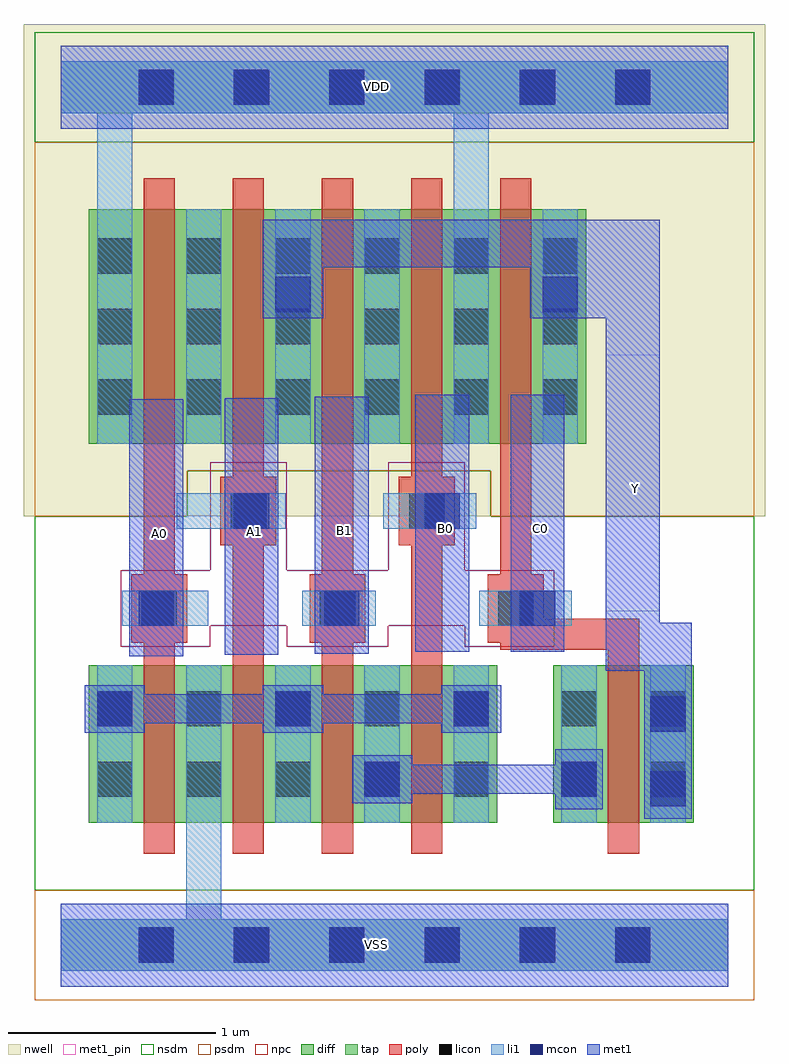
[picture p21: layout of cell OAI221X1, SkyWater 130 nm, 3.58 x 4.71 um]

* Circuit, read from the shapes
.subckt OAI221X1 A0 A1 B0 B1 C0 VDD VSS Y
XM1 VSS A0 n1 VSS sky130_fd_pr__nfet_01v8 w=0.76 l=0.15
XM2 n1 A1 VSS VSS sky130_fd_pr__nfet_01v8 w=0.76 l=0.15
XM3 n2 B1 n1 VSS sky130_fd_pr__nfet_01v8 w=0.76 l=0.15
XM4 n1 B0 n2 VSS sky130_fd_pr__nfet_01v8 w=0.76 l=0.15
XM5 Y C0 n2 VSS sky130_fd_pr__nfet_01v8 w=0.76 l=0.15
XM6 n3 A0 VDD VDD sky130_fd_pr__pfet_01v8 w=1.13 l=0.15
XM7 Y A1 n3 VDD sky130_fd_pr__pfet_01v8 w=1.13 l=0.15
XM8 n4 B1 Y VDD sky130_fd_pr__pfet_01v8 w=1.13 l=0.15
XM9 VDD B0 n4 VDD sky130_fd_pr__pfet_01v8 w=1.13 l=0.15
XM10 Y C0 VDD VDD sky130_fd_pr__pfet_01v8 w=1.13 l=0.15
.ends

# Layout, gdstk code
import gdstk
lib = gdstk.Library(unit=1e-6, precision=1e-09)
def R(c, l, rs):  # rectangles x0, y0, x1, y1
    for r in rs: c.add(gdstk.rectangle(r[:2], r[2:], *l))
def A(c, l, x, y, w, h, nx, ny, dx, dy):  # array of equal rectangles
    R(c, l, [(x+i*dx, y+j*dy, x+i*dx+w, y+j*dy+h) for i in range(nx) for j in range(ny)])
def P(c, l, *ps):  # polygons
    for p in ps: c.add(gdstk.Polygon(p, *l))
nwell = (64, 20)
diff = (65, 20)
tap = (65, 44)
poly = (66, 20)
licon = (66, 44)
li1 = (67, 20)
mcon = (67, 44)
met1_pin = (68, 16)
met1 = (68, 20)
nsdm = (93, 44)
psdm = (94, 20)
npc = (95, 20)

licondiff_c_cdns_7515547 = lib.new_cell('LICONDIFF_C_CDNS_751554744755')
R(licondiff_c_cdns_7515547, diff, [(-0.125,-0.145,0.125,0.145)])
R(licondiff_c_cdns_7515547, licon, [(-0.085,-0.085,0.085,0.085), (-0.085,-0.085,0.085,0.085)])

pyl1con_c_cdns_751554744 = lib.new_cell('PYL1CON_C_CDNS_751554744751')
R(pyl1con_c_cdns_751554744, poly, [(-0.135,-0.165,0.135,0.165)])
R(pyl1con_c_cdns_751554744, licon, [(-0.085,-0.085,0.085,0.085)])
R(pyl1con_c_cdns_751554744, npc, [(-0.185,-0.185,0.185,0.185)])

oai221x1 = lib.new_cell('OAI221X1')
R(oai221x1, nwell, [(-0.18,2.07,3.4,4.445)])
R(oai221x1, diff, [(0.135,0.59,2.105,1.35), (2.375,0.59,3.055,1.35), (0.135,2.42,2.535,3.55)])
A(oai221x1, poly, 0.4, 0.44, 0.15, 3.26, 4, 1, 0.43, 0)
P(oai221x1, poly, [(2.79,1.575),(2.27,1.575),(2.27,3.7),(2.12,3.7),(2.12,1.425),(2.64,1.425),(2.64,0.44),(2.79,0.44)])
A(oai221x1, licon, 0.375, -0.085, 0.17, 0.17, 6, 2, 0.46, 4.14)
A(oai221x1, licon, 0.175, 0.715, 0.17, 0.17, 5, 2, 0.43, 0.34)
A(oai221x1, licon, 0.175, 2.56, 0.17, 0.17, 3, 3, 0.86, 0.34)
A(oai221x1, licon, 2.325, 2.56, 0.17, 0.17, 1, 3, 0, 0.34)
R(oai221x1, licon, [(2.415,0.715,2.585,0.885), (2.845,0.715,3.015,0.885), (2.415,1.055,2.585,1.225), (2.845,1.055,3.015,1.225)])
A(oai221x1, li1, 1.035, 0.59, 0.17, 0.76, 3, 1, 0.43, 0)
A(oai221x1, li1, 0.175, 0.975, 0.17, 0.33, 3, 1, 0.86, 0)
R(oai221x1, li1, [(0.175,0.59,0.345,1.35), (2.415,0.59,2.585,1.35), (2.845,0.59,3.015,1.28), (2.845,0.59,3.015,1.35), (1.465,0.635,1.635,0.965), (2.415,0.635,2.585,0.965), (0.295,1.54,0.625,1.71), (1.19,1.54,1.52,1.71), (2.135,1.54,2.465,1.71), (0.755,2.01,1.085,2.18), (1.675,2.01,2.005,2.18), (1.035,2.42,1.205,3.55), (2.325,2.42,2.495,3.55), (1.035,2.975,1.205,3.305), (2.325,2.975,2.495,3.305)])
P(oai221x1, li1, [(3.22,0.125),(0.775,0.125),(0.775,1.35),(0.605,1.35),(0.605,0.125),(0,0.125),(0,-0.125),(3.22,-0.125)],
  [(3.22,4.265),(0,4.265),(0,4.015),(0.175,4.015),(0.175,2.42),(0.345,2.42),(0.345,4.015),(1.895,4.015),(1.895,2.42),(2.065,2.42),(2.065,4.015),(3.22,4.015)])
A(oai221x1, mcon, 0.375, -0.085, 0.17, 0.17, 6, 2, 0.46, 4.14)
A(oai221x1, mcon, 0.175, 1.055, 0.17, 0.17, 3, 1, 0.86, 0)
R(oai221x1, mcon, [(2.845,0.67,3.015,0.84), (1.465,0.715,1.635,0.885), (2.415,0.715,2.585,0.885), (2.845,1.03,3.015,1.2), (0.375,1.54,0.545,1.71), (1.27,1.54,1.44,1.71), (2.215,1.54,2.385,1.71), (0.835,2.01,1.005,2.18), (1.755,2.01,1.925,2.18), (1.035,3.055,1.205,3.225), (2.325,3.055,2.495,3.225)])
R(oai221x1, met1_pin, [(0.33,1.395,0.59,2.635), (0.79,1.4,1.05,2.64), (1.225,1.405,1.485,2.645), (1.71,1.415,1.97,2.655), (2.17,1.415,2.43,2.655), (2.63,1.61,2.89,2.85)])
A(oai221x1, met1, 0.115, 1.025, 0.29, 0.23, 3, 1, 0.86, 0)
R(oai221x1, met1, [(2.815,0.61,3.045,1.26), (2.385,0.655,2.615,0.945), (1.405,0.685,1.695,0.915), (0.345,1.48,0.575,1.77), (1.24,1.48,1.47,1.77), (2.185,1.48,2.415,1.77), (0.805,1.95,1.035,2.24), (1.725,1.95,1.955,2.24), (0.975,3.025,1.265,3.255), (2.265,3.025,2.555,3.255)])
P(oai221x1, met1, [(3.045,1.555),(2.89,1.555),(2.89,3.5),(0.975,3.5),(0.975,3.025),(1.265,3.025),(1.265,3.27),(2.265,3.27),(2.265,3.025),(2.63,3.025),(2.63,1.325),(2.815,1.325),(2.815,0.935),(3.045,0.935)])
R(oai221x1, nsdm, [(-0.125,3.875,3.345,4.405)])
P(oai221x1, nsdm, [(3.345,2.07),(2.075,2.07),(2.075,2.29),(0.61,2.29),(0.61,2.07),(-0.125,2.07),(-0.125,0.265),(3.345,0.265)])
R(oai221x1, psdm, [(-0.125,-0.265,3.345,0.265)])
P(oai221x1, psdm, [(3.345,3.875),(-0.125,3.875),(-0.125,2.07),(0.61,2.07),(0.61,2.29),(2.075,2.29),(2.075,2.07),(3.345,2.07)])
P(oai221x1, npc, [(2.38,1.81),(1.95,1.81),(1.95,2.33),(1.58,2.33),(1.58,1.81),(1.09,1.81),(1.09,2.33),(0.72,2.33),(0.72,1.81),(0.29,1.81),(0.29,1.44),(0.72,1.44),(0.72,1.54),(1.09,1.54),(1.09,1.44),(1.58,1.44),(1.58,1.54),(1.95,1.54),(1.95,1.44),(2.38,1.44)])
oai221x1.add(gdstk.FlexPath([(2.02,1.625),(2.185,1.625)], 0.17, ends=(0, 0.085), simple_path=True, layer=67, datatype=20))  # li1
oai221x1.add(gdstk.FlexPath([(1.55,2.42),(1.55,3.55)], 0.17, ends="flush", simple_path=True, layer=67, datatype=20))  # li1
oai221x1.add(gdstk.FlexPath([(0.69,2.42),(0.69,3.55)], 0.17, ends="flush", simple_path=True, layer=67, datatype=20))  # li1
oai221x1.add(gdstk.FlexPath([(0.46,1.625),(0.625,1.625)], 0.17, ends=(0, 0.085), simple_path=True, layer=67, datatype=20))  # li1
oai221x1.add(gdstk.FlexPath([(0.56,2.095),(0.81,2.095)], 0.17, ends=(0, 0.085), simple_path=True, layer=67, datatype=20))  # li1
oai221x1.add(gdstk.FlexPath([(1.165,1.625),(1.33,1.625)], 0.17, ends=(0, 0.085), simple_path=True, layer=67, datatype=20))  # li1
oai221x1.add(gdstk.FlexPath([(1.555,2.095),(1.72,2.095)], 0.17, ends=(0, 0.085), simple_path=True, layer=67, datatype=20))  # li1
oai221x1.add(gdstk.FlexPath([(0.26,1.14),(1.98,1.14)], 0.14, ends="flush", simple_path=True, layer=68, datatype=20))  # met1
oai221x1.add(gdstk.FlexPath([(1.55,0.8),(2.5,0.8)], 0.14, ends="flush", simple_path=True, layer=68, datatype=20))  # met1
oai221x1.add(gdstk.FlexPath([(0.46,1.395),(0.46,2.635)], 0.26, ends="flush", simple_path=True, layer=68, datatype=20))  # met1
oai221x1.add(gdstk.FlexPath([(0.92,1.4),(0.92,2.64)], 0.26, ends="flush", simple_path=True, layer=68, datatype=20))  # met1
oai221x1.add(gdstk.FlexPath([(2.3,1.415),(2.3,2.655)], 0.26, ends="flush", simple_path=True, layer=68, datatype=20))  # met1
oai221x1.add(gdstk.FlexPath([(1.84,1.415),(1.84,2.655)], 0.26, ends="flush", simple_path=True, layer=68, datatype=20))  # met1
oai221x1.add(gdstk.FlexPath([(1.355,1.405),(1.355,2.645)], 0.26, ends="flush", simple_path=True, layer=68, datatype=20))  # met1
oai221x1.add(gdstk.FlexPath([(0,4.14),(3.22,4.14)], 0.4, ends="flush", simple_path=True, layer=68, datatype=20))  # met1
oai221x1.add(gdstk.FlexPath([(0,0),(3.22,0)], 0.4, ends="flush", simple_path=True, layer=68, datatype=20))  # met1
oai221x1.add(gdstk.FlexPath([(0,0),(3.22,0)], 0.4, ends="flush", simple_path=True, layer=68, datatype=16))  # met1_pin
oai221x1.add(gdstk.FlexPath([(0,4.14),(3.22,4.14)], 0.4, ends="flush", simple_path=True, layer=68, datatype=16))  # met1_pin
oai221x1.add(gdstk.FlexPath([(0,4.14),(3.22,4.14)], 0.25, ends="flush", simple_path=True, layer=65, datatype=44))  # tap
oai221x1.add(gdstk.FlexPath([(0,0),(3.22,0)], 0.25, ends="flush", simple_path=True, layer=65, datatype=44))  # tap
oai221x1.add(gdstk.Reference(licondiff_c_cdns_7515547, (1.55,3.325)))
oai221x1.add(gdstk.Reference(licondiff_c_cdns_7515547, (1.55,2.985)))
oai221x1.add(gdstk.Reference(licondiff_c_cdns_7515547, (1.55,2.645)))
oai221x1.add(gdstk.Reference(licondiff_c_cdns_7515547, (0.69,3.325)))
oai221x1.add(gdstk.Reference(licondiff_c_cdns_7515547, (0.69,2.985)))
oai221x1.add(gdstk.Reference(licondiff_c_cdns_7515547, (0.69,2.645)))
oai221x1.add(gdstk.Reference(pyl1con_c_cdns_751554744, (0.905,2.095), x_reflection=True))
oai221x1.add(gdstk.Reference(pyl1con_c_cdns_751554744, (2.195,1.625), x_reflection=True))
oai221x1.add(gdstk.Reference(pyl1con_c_cdns_751554744, (1.335,1.625), x_reflection=True))
oai221x1.add(gdstk.Reference(pyl1con_c_cdns_751554744, (0.475,1.625), x_reflection=True))
oai221x1.add(gdstk.Reference(pyl1con_c_cdns_751554744, (1.765,2.095), x_reflection=True))
oai221x1.add(gdstk.Label('VSS', (1.525,0.005), layer=68, texttype=5))
oai221x1.add(gdstk.Label('A0', (0.475,1.985), layer=68, texttype=5))
oai221x1.add(gdstk.Label('A1', (0.935,1.995), layer=68, texttype=5))
oai221x1.add(gdstk.Label('B1', (1.37,2), layer=68, texttype=5))
oai221x1.add(gdstk.Label('B0', (1.855,2.01), layer=68, texttype=5))
oai221x1.add(gdstk.Label('C0', (2.315,2.01), layer=68, texttype=5))
oai221x1.add(gdstk.Label('Y', (2.775,2.205), layer=68, texttype=5))
oai221x1.add(gdstk.Label('VDD', (1.525,4.145), layer=68, texttype=5))

lib.write_gds('OAI221X1.gds')
